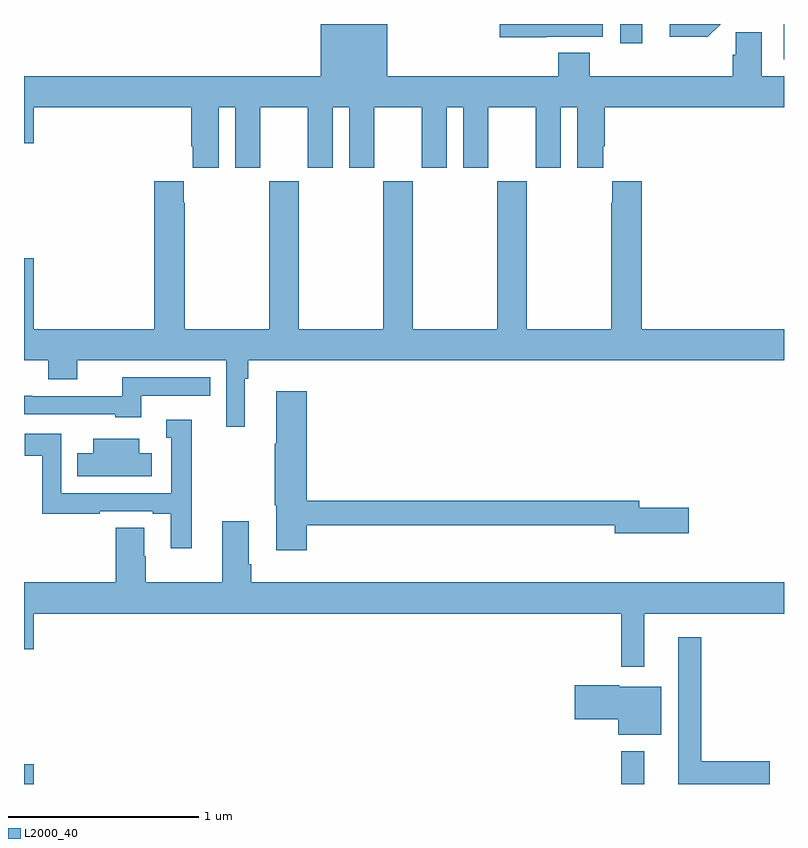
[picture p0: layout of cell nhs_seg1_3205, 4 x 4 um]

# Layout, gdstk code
import gdstk
lib = gdstk.Library(unit=1e-6, precision=1e-09)
def R(c, l, rs):  # rectangles x0, y0, x1, y1
    for r in rs: c.add(gdstk.rectangle(r[:2], r[2:], *l))
def P(c, l, *ps):  # polygons
    for p in ps: c.add(gdstk.Polygon(p, *l))
L2000_40 = (2000, 40)

nhs_seg1_3205 = lib.new_cell('nhs_seg1_3205')
R(nhs_seg1_3205, L2000_40, [(285,520.199,285.052,520.303), (288.144,520.199,288.265,520.372), (288.999,524.013,289,524.199), (288.138,524.097,288.253,524.199)])
P(nhs_seg1_3205, L2000_40, [(287.749,524.133),(288.045,524.133),(288.045,524.199),(287.505,524.199),(287.505,524.129),(287.749,524.129)],
  [(288.666,524.199),(288.399,524.199),(288.399,524.132),(288.598,524.132)],
  [(286.024,523.76),(286.112,523.76),(286.112,523.443),(286.243,523.443),(286.243,523.76),(286.493,523.76),(286.493,523.443),(286.624,523.443),(286.624,523.76),(286.712,523.76),(286.712,523.443),(286.843,523.443),(286.843,523.76),(287.093,523.76),(287.093,523.443),(287.224,523.443),(287.224,523.76),(287.312,523.76),(287.312,523.443),(287.443,523.443),(287.443,523.76),(287.693,523.76),(287.693,523.443),(287.824,523.443),(287.824,523.76),(287.912,523.76),(287.912,523.443),(288.049,523.443),(288.049,523.555),(288.056,523.555),(288.056,523.76),(289,523.76),(289,523.924),(288.883,523.924),(288.883,524.156),(288.745,524.156),(288.745,524.036),(288.731,524.036),(288.731,523.924),(287.978,523.924),(287.978,524.048),(287.813,524.048),(287.813,523.924),(286.912,523.924),(286.912,524.199),(286.562,524.199),(286.562,523.924),(285,523.924),(285,523.572),(285.052,523.572),(285.052,523.76),(285.881,523.76),(285.881,523.555),(285.887,523.555),(285.887,523.443),(286.024,523.443)],
  [(289,522.592),(288.251,522.592),(288.251,523.371),(288.095,523.371),(288.095,523.259),(288.091,523.259),(288.091,522.592),(287.646,522.592),(287.646,523.371),(287.491,523.371),(287.491,522.592),(287.046,522.592),(287.046,523.371),(286.891,523.371),(286.891,522.592),(286.446,522.592),(286.446,523.371),(286.291,523.371),(286.291,522.592),(285.846,522.592),(285.846,523.259),(285.841,523.259),(285.841,523.371),(285.686,523.371),(285.686,522.592),(285.052,522.592),(285.052,522.967),(285,522.967),(285,522.428),(285.128,522.428),(285.128,522.329),(285.28,522.329),(285.28,522.428),(286.065,522.428),(286.065,522.078),(286.162,522.078),(286.162,522.332),(286.181,522.332),(286.181,522.428),(289,522.428)],
  [(285.616,522.243),(285.98,522.243),(285.98,522.339),(285.517,522.339),(285.517,522.24),(285.044,522.24),(285.044,522.242),(285,522.242),(285,522.144),(285.48,522.144),(285.48,522.128),(285.616,522.128)],
  [(286.487,521.562),(288.11,521.562),(288.11,521.519),(288.499,521.519),(288.499,521.654),(288.238,521.654),(288.238,521.69),(286.487,521.69),(286.487,522.265),(286.328,522.265),(286.328,521.99),(286.321,521.99),(286.321,521.667),(286.328,521.667),(286.328,521.43),(286.487,521.43)],
  [(285.883,522.115),(285.749,522.115),(285.749,522.021),(285.774,522.021),(285.774,521.73),(285.195,521.73),(285.195,522.042),(285.003,522.042),(285.003,521.926),(285.097,521.926),(285.097,521.621),(285.398,521.621),(285.398,521.634),(285.677,521.634),(285.677,521.621),(285.773,521.621),(285.773,521.439),(285.883,521.439)],
  [(285.673,521.941),(285.607,521.941),(285.607,522.016),(285.365,522.016),(285.365,521.941),(285.28,521.941),(285.28,521.819),(285.673,521.819)],
  [(288.265,521.096),(289,521.096),(289,521.26),(286.196,521.26),(286.196,521.356),(286.183,521.356),(286.183,521.581),(286.043,521.581),(286.043,521.26),(285.642,521.26),(285.642,521.399),(285.634,521.399),(285.634,521.549),(285.482,521.549),(285.482,521.26),(285,521.26),(285,520.908),(285.052,520.908),(285.052,521.096),(288.144,521.096),(288.144,520.815),(288.265,520.815)],
  [(288.925,520.319),(288.565,520.319),(288.565,520.972),(288.443,520.972),(288.443,520.199),(288.925,520.199)],
  [(288.355,520.711),(288.132,520.711),(288.132,520.719),(287.898,520.719),(287.898,520.541),(288.128,520.541),(288.128,520.457),(288.355,520.457)])

lib.write_gds('nhs_seg1_3205.gds')
